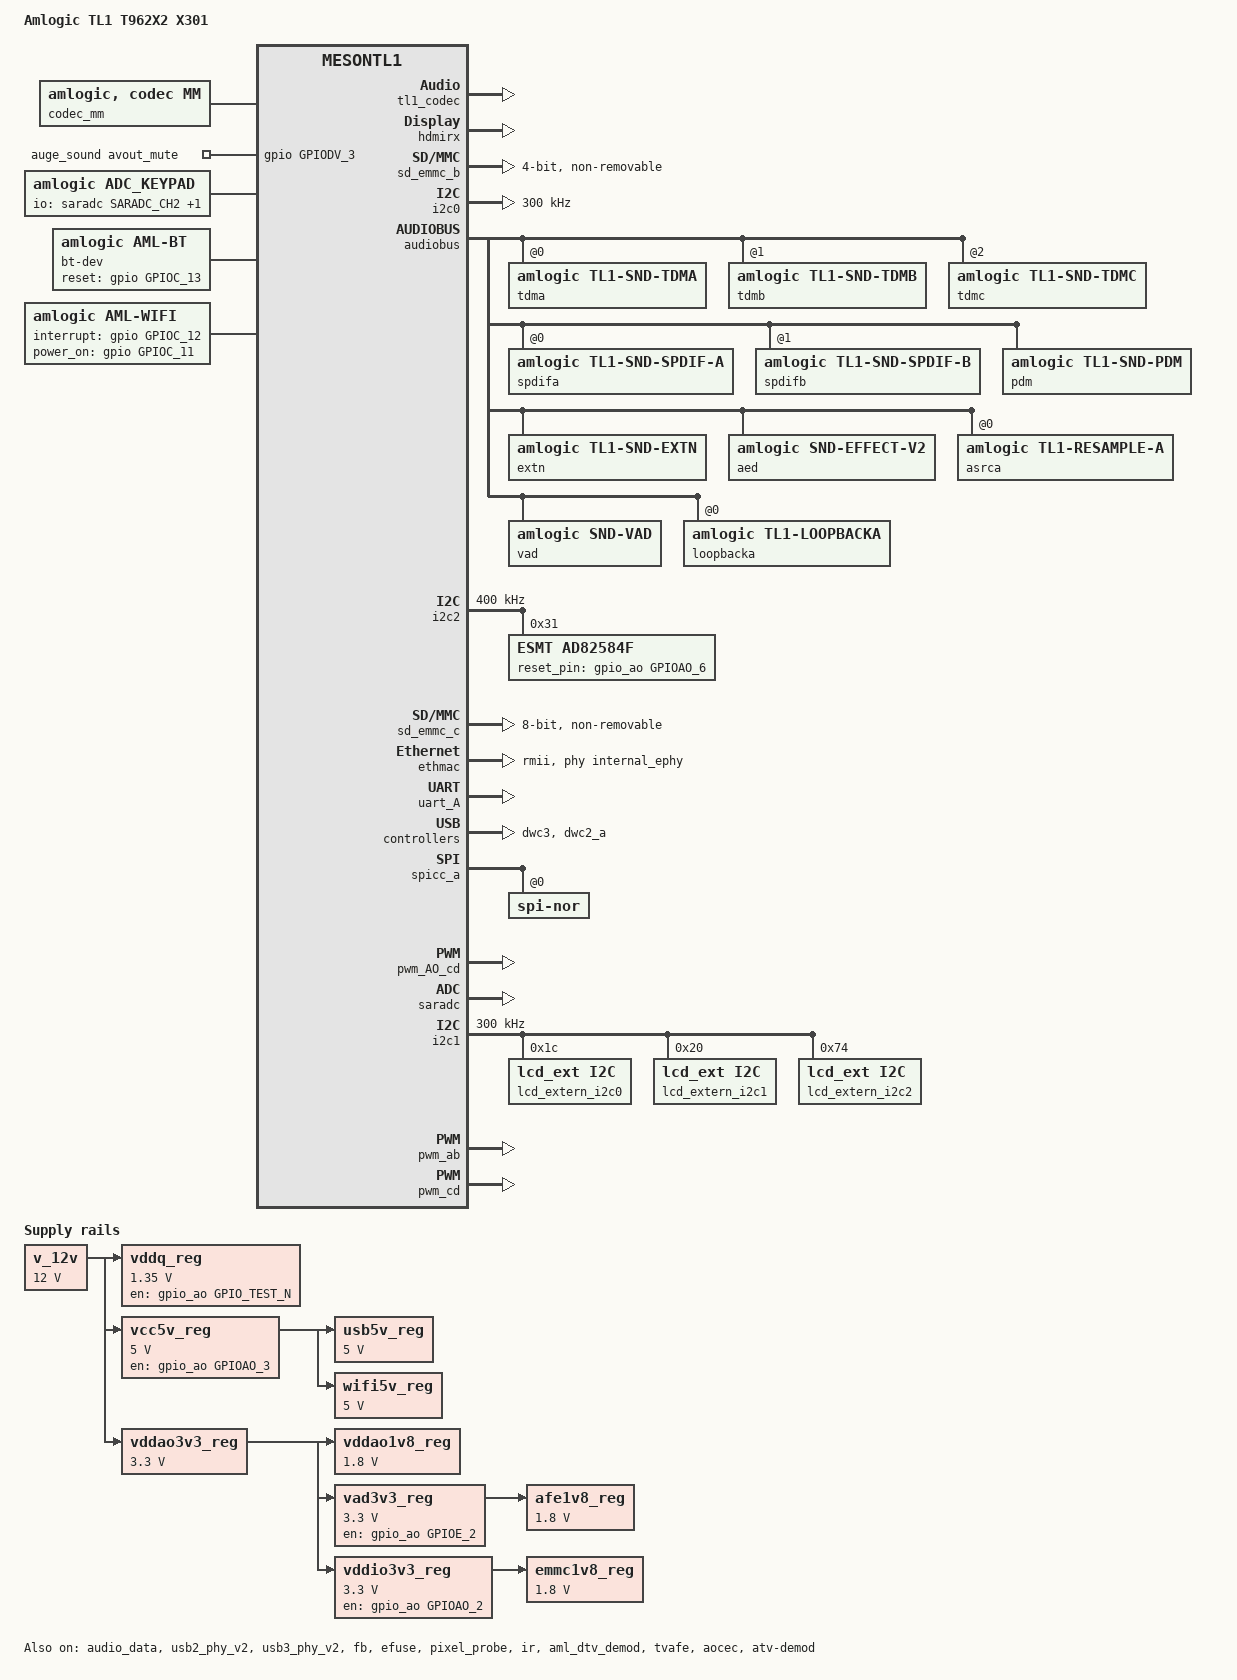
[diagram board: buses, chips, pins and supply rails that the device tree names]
// SPDX-License-Identifier: (GPL-2.0+ OR MIT)
/*
 * Copyright (c) 2021 Amlogic, Inc. All rights reserved.
 */

/dts-v1/;

#include "mesontl1.dtsi"
#include "partition_mbox_normal_P_32.dtsi"
#include "mesontl1_x301-panel.dtsi"

/ {
	model = "Amlogic TL1 T962X2 X301";
	amlogic-dt-id = "tl1_t962x2_x301-1g";
	compatible = "amlogic, tl1_t962x2_x301";

	aliases {
		serial0 = &uart_AO;
		serial1 = &uart_A;
		serial2 = &uart_B;
		serial3 = &uart_C;
		serial4 = &uart_AO_B;
		tsensor0 = &p_tsensor;
		tsensor1 = &d_tsensor;
		tsensor2 = &s_tsensor;
		i2c0 = &i2c0;
		i2c1 = &i2c1;
		i2c2 = &i2c2;
		i2c3 = &i2c3;
		i2c4 = &i2c_AO;
		spi0 = &spicc_a;
		spi1 = &spicc1;
	};

	memory@00000000 {
		device_type = "memory";
		linux,usable-memory = <0x0 0x40000000>;
	};

	reserved-memory {
		#address-cells = <1>;
		#size-cells = <1>;
		ranges;
		/* global autoconfigured region for contiguous allocations */
		ramoops@0x07400000 {
			compatible = "ramoops";
			reg = <0x07400000 0x00100000>;
			record-size = <0x20000>;
			console-size = <0x40000>;
			ftrace-size = <0x80000>;
			pmsg-size = <0x20000>;
		};

		secmon_reserved: linux,secmon {
			compatible = "shared-dma-pool";
			reusable;
			size = <0x400000>;
			alignment = <0x400000>;
			alloc-ranges = <0x05000000 0x400000>;
		};

		logo_reserved:linux,meson-fb {
			compatible = "amlogic, meson-fb";
			size = <0x800000>;
			alignment = <0x400000>;
			reg = <0x3f800000 0x800000>;
		};

		lcd_tcon_reserved:linux,lcd_tcon {
			compatible = "shared-dma-pool";
			reusable;
			size = <0x0>;
			alignment = <0x400000>;
			alloc-ranges = <0x3ec00000 0xc00000>;
		};

		codec_mm_cma:linux,codec_mm_cma {
			compatible = "shared-dma-pool";
			reusable;
			/* ion_codec_mm max can alloc size 80M*/
			size = <0xdc00000>;
			alignment = <0x400000>;
			linux,contiguous-region;
			alloc-ranges = <0x30000000 0x10000000>;
		};

		/* codec shared reserved */
		codec_mm_reserved:linux,codec_mm_reserved {
			compatible = "amlogic, codec-mm-reserved";
			size = <0x0>;
			alignment = <0x100000>;
			//no-map;
		};

		ion_cma_reserved:linux,ion-dev {
			compatible = "shared-dma-pool";
			reusable;
			size = <0x400000>;
			alignment = <0x400000>;
			alloc-ranges = <0x00000000 0x30000000>;
		};

		ion_fb_reserved:linux,ion-fb {
			compatible = "shared-dma-pool";
			reusable;
			size = <0x1c00000>;
			alignment = <0x400000>;
			alloc-ranges = <0x00000000 0x30000000>;
		};

		/*  vdin0 CMA pool */
		//vdin0_cma_reserved:linux,vdin0_cma {
		//	compatible = "shared-dma-pool";
		//	reusable;
			/* 3840x2160x4x4 ~=128 M */
		//	size = <0xc400000>;
		//	alignment = <0x400000>;
		//};

		/*  vdin1 CMA pool */
		vdin1_cma_reserved:linux,vdin1_cma {
			compatible = "shared-dma-pool";
			reusable;
			/*keystone need 4 buffers,each has 1920*1080*3
			 *for keystone, change to 0x1800000(24M)
			 */
			size = <0x1400000>;/*20M*/
			alignment = <0x400000>;
			alloc-ranges = <0x30000000 0x10000000>;
		};

		/*demod_reserved:linux,demod {
		 *	compatible = "amlogic, demod-mem";
		 *	size = <0x800000>; //8M //100m 0x6400000
		 *	alloc-ranges = <0x0 0x30000000>;
		 *	//multi-use;
		 *	//no-map;
		 *};
		 */

		demod_cma_reserved:linux,demod_cma {
			compatible = "shared-dma-pool";
			reusable;
			/* 8M */
			size = <0x0800000>;
			alignment = <0x400000>;
			alloc-ranges = <0x30000000 0x10000000>;
		};

		/*di CMA pool */
		di_cma_reserved:linux,di_cma {
			compatible = "shared-dma-pool";
			reusable;
			/* buffer_size = 3621952(yuv422 8bit)
			 *  | 4736064(yuv422 10bit)
			 *  | 4074560(yuv422 10bit full pack mode)
			 * 10x3621952=34.6M(0x23) support 8bit
			 * 10x4736064=45.2M(0x2e) support 12bit
			 * 10x4074560=40M(0x28) support 10bit
			 */
			//size = <0x02800000>;
			//alignment = <0x400000>;
			//alloc-ranges = <0x00000000 0x30000000>;
		};

		/* for hdmi rx emp use */
		/* hdmirx_emp_cma_reserved:linux,emp_cma { */
			/*compatible = "shared-dma-pool";*/
			/*linux,phandle = <5>;*/
			/*reusable;*/
			/* 4M for emp to ddr */
			/* 32M for tmds to ddr */
			/*size = <0x800>;*/
			/*alignment = <0x400000>;*/
			/* alloc-ranges = <0x400000 0x2000000>; */
		/*};*/

		/* POST PROCESS MANAGER */
		ppmgr_reserved:linux,ppmgr {
			compatible = "amlogic, ppmgr_memory";
			size = <0x0>;
		};

		picdec_cma_reserved:linux,picdec {
			compatible = "shared-dma-pool";
			reusable;
			size = <0x0>;
			alignment = <0x0>;
			linux,contiguous-region;
		};
	}; /* end of reserved-memory */

	codec_mm {
		compatible = "amlogic, codec, mm";
		status = "okay";
		memory-region = <&codec_mm_cma &codec_mm_reserved>;
	};

	picdec {
		compatible = "amlogic, picdec";
		memory-region = <&picdec_cma_reserved>;
		dev_name = "picdec";
		status = "okay";
	};

	ppmgr {
		compatible = "amlogic, ppmgr";
		memory-region = <&ppmgr_reserved>;
		status = "okay";
	};

	deinterlace {
		compatible = "amlogic, deinterlace";
		status = "disabled";
		/* 0:use reserved; 1:use cma; 2:use cma as reserved */
		flag_cma = <1>;
		//memory-region = <&di_reserved>;
		memory-region = <&di_cma_reserved>;
		interrupts = <0 46 1
				0 40 1>;
		interrupt-names = "pre_irq", "post_irq";
		//clocks = <&clkc CLKID_VPU_CLKB_TMP_COMP>,
		//	<&clkc CLKID_VPU_CLKB_COMP>;
		//clock-names = "vpu_clkb_tmp_composite",
		//	"vpu_clkb_composite";
		clock-range = <334 500>;
		//clock-range = <334 667>;
		/* buffer-size = <3621952>;(yuv422 8bit) */
		buffer-size = <4074560>;/*yuv422 fullpack*/
		/* reserve-iomap = "true"; */
		/* if enable nr10bit, set nr10bit-support to 1 */
		post-wr-support = <1>;
		nr10bit-support = <1>;
		nrds-enable = <1>;
		pps-enable = <1>;
	};

	multi-di {
		compatible = "amlogic, dim-tl1";
		status = "okay";
		/* 0:use reserved; 1:use cma; 2:use cma as reserved */
		flag_cma = <4>;
		//memory-region = <&di_reserved>;
		//memory-region = <&di_cma_reserved>;
		interrupts = <0 46 1
				0 40 1>;
		interrupt-names = "pre_irq", "post_irq";
		clocks = <&clkc CLKID_VPU_CLKB_TMP>,
			<&clkc CLKID_VPU_CLKB>;
		clock-names = "vpu_clkb",
			"vpu_mux";
		clock-range = <334 500>;
		//clock-range = <334 667>;
		/* buffer-size = <3621952>;(yuv422 8bit) */
		buffer-size = <4074560>;/*yuv422 fullpack*/
		/* reserve-iomap = "true"; */
		/* if enable nr10bit, set nr10bit-support to 1 */
		post-wr-support = <1>;
		nr10bit-support = <1>;
		nrds-enable = <1>;
		pps-enable = <1>;
	};

	/* Audio Related start */
	pdm_codec:dummy {
		#sound-dai-cells = <0>;
		compatible = "amlogic, pdm_dummy_codec";
		status = "okay";
	};

	dummy_codec:dummy {
		#sound-dai-cells = <0>;
		compatible = "amlogic, aml_dummy_codec";
		status = "okay";
	};

	tl1_codec:codec {
		#sound-dai-cells = <0>;
		compatible = "amlogic, tl1_acodec";
		status = "okay";
		reg = <0xff632000 0x1c>;
		lane_offset = <4>;
		tdmout_index = <0>;
		tdmin_index = <0>;
		dat1_ch_sel = <1>;
	};

	aml_dtv_demod {
		compatible = "amlogic, ddemod-tl1";
		dev_name = "aml_dtv_demod";
		status = "okay";

		//pinctrl-names="if_agc_pins";
		//pinctrl-0=<&dtvdemod_agc_pins>;

		//clocks = <&clkc CLKID_DAC_CLK>;
		clock-names = "vdac_clk_gate";

		reg = <0xff650000 0x4000	/*dtv demod base*/
			   0xff63c000 0x2000	/*hiu reg base*/
			   0xff800000 0x1000	/*io_aobus_base*/
			   0xffd01000 0x1000	/*reset*/
			>;

		spectrum = <1>;
		cma_mem_size = <8>;
		memory-region = <&demod_cma_reserved>;//<&demod_reserved>;
	};

	auge_sound {
		compatible = "amlogic, auge-sound-card";
		aml-audio-card,name = "AML-AUGESOUND";

		avout_mute-gpios = <&gpio GPIODV_3 GPIO_ACTIVE_HIGH>;

		aml-audio-card,dai-link@0 {
			format = "i2s";
			mclk-fs = <256>;
			continuous-clock;
			//bitclock-inversion;
			//frame-inversion;
			/* master mode */
			bitclock-master = <&tdma>;
			frame-master = <&tdma>;
			/* slave mode */
			/*
			 * bitclock-master = <&tdmacodec>;
			 * frame-master = <&tdmacodec>;
			 */
			/* suffix-name, sync with android audio hal used for */
			suffix-name = "alsaPORT-i2s";
			tdmacpu: cpu {
				sound-dai = <&tdma>;
				dai-tdm-slot-tx-mask =
							<1 1>;
				dai-tdm-slot-rx-mask =
							<1 1>;
				dai-tdm-slot-num = <2>;
				dai-tdm-slot-width = <32>;
				system-clock-frequency = <12288000>;
			};
			tdmacodec: codec {
				//sound-dai = <&dummy_codec>;
				prefix-names = "AMP";
				sound-dai = <&ad82584f &tl1_codec>;
			};
		};

		aml-audio-card,dai-link@1 {

			format = "i2s";
			mclk-fs = <256>;
			//continuous-clock;
			//bitclock-inversion;
			//frame-inversion;
			/* master mode */
			bitclock-master = <&tdmb>;
			frame-master = <&tdmb>;
			/* slave mode */
			//bitclock-master = <&tdmbcodec>;
			//frame-master = <&tdmbcodec>;
			/* suffix-name, sync with android audio hal used for */
			suffix-name = "alsaPORT-pcm";
			cpu {
				sound-dai = <&tdmb>;
				dai-tdm-slot-tx-mask = <1 1>;
				dai-tdm-slot-rx-mask = <1 1>;
				dai-tdm-slot-num = <2>;
				/*
				 * dai-tdm-slot-tx-mask =
				 *	<1 1 1 1 1 1 1 1>;
				 * dai-tdm-slot-rx-mask =
				 *	<1 1 1 1 1 1 1 1>;
				 * dai-tdm-slot-num = <8>;
				 */
				dai-tdm-slot-width = <32>;
				system-clock-frequency = <12288000>;
			};
			tdmbcodec: codec {
				sound-dai = <&dummy_codec>;
			};
		};

		aml-audio-card,dai-link@2 {
			format = "i2s";
			mclk-fs = <256>;
			//continuous-clock;
			//bitclock-inversion;
			//frame-inversion;
			/* master mode */
			bitclock-master = <&tdmc>;
			frame-master = <&tdmc>;
			/* slave mode */
			//bitclock-master = <&tdmccodec>;
			//frame-master = <&tdmccodec>;
			/* suffix-name, sync with android audio hal used for */
			//suffix-name = "alsaPORT-tdm";
			cpu {
				sound-dai = <&tdmc>;
				dai-tdm-slot-tx-mask = <1 1>;
				dai-tdm-slot-rx-mask = <1 1>;
				dai-tdm-slot-num = <2>;
				dai-tdm-slot-width = <32>;
				system-clock-frequency = <12288000>;
			};
			tdmccodec: codec {
				sound-dai = <&dummy_codec>;
			};
		};

		aml-audio-card,dai-link@3 {
			mclk-fs = <64>;
			/* suffix-name, sync with android audio hal used for */
			suffix-name = "alsaPORT-pdm";
			cpu {
				sound-dai = <&pdm>;
			};
			codec {
				sound-dai = <&pdm_codec>;
			};
		};

		aml-audio-card,dai-link@4 {
			mclk-fs = <128>;
			continuous-clock;
			/* suffix-name, sync with android audio hal used for */
			suffix-name = "alsaPORT-spdif";
			cpu {
				sound-dai = <&spdifa>;
				system-clock-frequency = <6144000>;
			};
			codec {
				sound-dai = <&dummy_codec>;
			};
		};

		aml-audio-card,dai-link@5 {
			mclk-fs = <128>;
			cpu {
				sound-dai = <&spdifb>;
				system-clock-frequency = <6144000>;
			};
			codec {
				sound-dai = <&dummy_codec>;
			};
		};

		aml-audio-card,dai-link@6 {
			mclk-fs = <256>;
			suffix-name = "alsaPORT-tv";
			cpu {
				sound-dai = <&extn>;
				system-clock-frequency = <12288000>;
			};
			codec {
				sound-dai = <&dummy_codec>;
			};
		};

		aml-audio-card,dai-link@7 {
			mclk-fs = <256>;
			continuous-clock;
			suffix-name = "alsaPORT-loopback";
			cpu {
				sound-dai = <&loopbacka>;
				system-clock-frequency = <12288000>;
			};
			codec {
				sound-dai = <&dummy_codec>;
			};
		};
	};
	/* Audio Related end */

	dvb-extern {
		compatible = "amlogic, dvb-extern";
		dev_name = "dvb-extern";
		status = "okay";

		fe_num = <1>;
		fe0_demod = "internal";

		tuner_cur = <0>; /* default use tuner */
		tuner_num = <1>; /* tuner number, multi tuner support */
		tuner0_name = "mxl661_tuner";
		tuner0_i2c_adap = <&i2c0>;
		tuner0_i2c_addr = <0x60>;
		tuner0_xtal = <1>; /* 0: 16MHz, 1: 24MHz */
		tuner0_xtal_mode = <3>;
					/* NO_SHARE_XTAL(0)
					 * SLAVE_XTAL_SHARE(3)
					 */
		tuner0_xtal_cap = <25>; /* when tuner_xtal_mode = 3, set 25 */
	};

	dvb-demux {
		compatible = "amlogic, dvb-demux";
		dev_name = "dvb-demux";
		status = "okay";

		dmx = <&demux>;

		/*"parallel","serial","disable"*/
		ts2 = "parallel";
		ts2_control = <0>;
		ts2_invert = <0>;

		clocks = <&clkc CLKID_CLK81_DEMUX
			&clkc CLKID_CLK81_ASYNC_FIFO
			&clkc CLKID_CLK81_AHB_ARB0
		&clkc CLKID_CLK81_U_PARSER>;
		clock-names = "demux", "asyncfifo", "ahbarb0", "uparsertop";

	};

	tvafe_avin_detect {
		compatible = "amlogic, tl1_tvafe_avin_detect";
		status = "okay";
		device_mask = <1>;/*bit0:ch1;bit1:ch2*/
		interrupts = <0 12 1>,
				<0 13 1>;
	};

	amlvecm {
		compatible = "amlogic, vecm-tl1";
		dev_name = "aml_vecm";
		status = "okay";
		gamma_en = <1>;/*1:enable ;0:disable*/
		wb_en = <1>;/*1:enable ;0:disable*/
		cm_en = <1>;/*1:enable ;0:disable*/
		wb_sel = <0>;/*1:mtx ;0:gainoff*/
		vlock_en = <1>;/*1:enable;0:disable*/
		vlock_mode = <0x8>;
		/* vlock work mode:
		 *bit0:auto ENC
		 *bit1:auto PLL
		 *bit2:manual PLL
		 *bit3:manual ENC
		 *bit4:manual soft ENC
		 *bit5:manual MIX PLL ENC
		 */
		 vlock_pll_m_limit = <1>;
		 vlock_line_limit = <2>;
	};

	vdin@0 {
		compatible = "amlogic, vdin-tl1";
		/*memory-region = <&vdin0_cma_reserved>;*/
		status = "okay";
		/*bit0:(1:share with codec_mm;0:cma alone)
		 *bit8:(1:alloc in discontinue way;0:alone in continuous way)
		 */
		flag_cma = <0x101>;
		/*MByte, if 10bit disable: 64M(YUV422),
		 *if 10bit enable: 64*1.5 = 96M(YUV422)
		 *if support 4K2K-YUV444-10bit-WR:3840*2160*4*6 ~= 200M
		 *if support 4K2K-YUV422-10bit-wr:3840*2160*3*6 ~= 160M
		 *if support 4K2K-YUV422-8BIT-WR:3840*2160*2*4 ~= 64M
		 *if support 1080p-YUV422-8BIT-WR:1920*1080*2*4 ~= 16M
		 *worst case:(4096*2160*4 + 2M(afbce issue)) *6buf = 214.5M
		 */
		cma_size = <215>;
		frame_buff_num = <8>;
		interrupts = <0 83 1>;
		rdma-irq = <2>;
		clocks = <&clkc CLKID_FCLK_DIV5>,
			<&clkc CLKID_VDIN_MEAS>;
		clock-names = "fclk_div5", "cts_vdin_meas_clk";
		vdin_id = <0>;
		/*vdin write mem color depth support:
		 * bit0:support 8bit
		 * bit1:support 9bit
		 * bit2:support 10bit
		 * bit3:support 12bit
		 * bit4:support yuv422 10bit full pack mode (from txl new add)
		 * bit8:use 8bit  at 4k_50/60hz_10bit
		 * bit9:use 10bit at 4k_50/60hz_10bit
		 */
		tv_bit_mode = <0x215>;
		/* afbce_bit_mode: (amlogic frame buff compression encoder)
		 * bit0 -- enable afbce
		 * bit1 -- enable afbce compression-lossy
		 * bit4 -- afbce for 4k
		 * bit5 -- afbce for 1080p
		 * bit6 -- afbce for 720p
		 * bit7 -- afbce for smaller resolution
		 */
		afbce_bit_mode = <0x31>;
	};

	vdin@1 {
		compatible = "amlogic, vdin-tl1";
		memory-region = <&vdin1_cma_reserved>;
		status = "okay";
		/*bit0:(1:share with codec_mm;0:cma alone)
		 *bit8:(1:alloc in discontinue way;0:alone in continuous way)
		 */
		flag_cma = <0>;
		interrupts = <0 85 1>;
		rdma-irq = <4>;
//		clocks = <&clkc CLKID_FCLK_DIV5>,
//			<&clkc CLKID_VDIN_MEAS_COMP>;
//		clock-names = "fclk_div5", "cts_vdin_meas_clk";
		vdin_id = <1>;
		/*vdin write mem color depth support:
		 *bit0:support 8bit
		 *bit1:support 9bit
		 *bit2:support 10bit
		 *bit3:support 12bit
		 */
		tv_bit_mode = <0x15>;
	};

	tvafe {
		compatible = "amlogic, tvafe-tl1";
		/*memory-region = <&tvafe_cma_reserved>;*/
		status = "okay";
		flag_cma = <1>;/*1:share with codec_mm;0:cma alone*/
		cma_size = <5>;/*MByte*/
		reg = <0xff654000 0x2000>;/*tvafe reg base*/
		reserve-iomap = "true";
		tvafe_id = <0>;
		//pinctrl-names = "default";
		/*!!particular sequence, no more and no less!!!*/
		tvafe_pin_mux = <
				3 /* TVAFE_CVBS_IN2, CVBS_IN0 = 0 */
				1 /* TVAFE_CVBS_IN0, CVBS_IN1 */
				2 /* TVAFE_CVBS_IN1, CVBS_IN2 */
				4 /* TVAFE_CVBS_IN3, CVBS_IN3 */
		>;
		clocks = <&clkc CLKID_CLK81_DAC_CLK>;
		clock-names = "vdac_clk_gate";

		cutwindow_val_h = <0 0 0 0 8>; /* level 0~4 */
		cutwindow_val_v = <4 8 14 16 24>;  /* level 0~4 */
		/* auto_adj_en:
		 * bit0 -- auto cdto
		 * bit1 -- auto hs
		 * bit2 -- auto vs
		 * bit3 -- auto de
		 * bit4 -- auto 3dcomb
		 * bit5 -- auto pga
		 */
		auto_adj_en = <0x3e>;
		/* val: default=0, 0x1, 0xf1, 0xe1, 0x11 for special tuner
		 * force_flag: force setting to std mode, default=0
		 */
		nostd_vs_th = <0 0>; /* val, force_flag */
		/* no_vs_th: default=0xf0
		 * vs_cntl: default=0x1, support 0x0~0x3
		 * vloop_tc: default=0x2, support 0x0~0x3
		 * dmd_clp_step: default=0x10
		 * nostd_bypass_iir: default=0x0
		 */
		nostd_ctrl = <0xf0 0x1 0x2 0x10 0x0>;
	};

	vbi {
		compatible = "amlogic, vbi";
		status = "okay";
		interrupts = <0 83 1>;
	};

	cvbsout {
		compatible = "amlogic, cvbsout-tl1";
		status = "okay";
//		clocks = <&clkc CLKID_VCLK2_ENCI
//			&clkc CLKID_VCLK2_VENCI0
//			&clkc CLKID_VCLK2_VENCI1
//			&clkc CLKID_DAC_CLK>;
//		clock-names = "venci_top_gate",
//			"venci_0_gate",
//			"venci_1_gate",
//			"vdac_clk_gate";
		/* clk path */
		/* 0:vid_pll vid2_clk */
		/* 1:gp0_pll vid2_clk */
		/* 2:vid_pll vid1_clk */
		/* 3:gp0_pll vid1_clk */
		clk_path = <0>;

		/* performance: reg_address, reg_value */
		/* tl1 */
		performance = <0x1bf0  0x9
			0x1b56  0x333
			0x1b12  0x8080
			0x1b05  0xfd
			0x1c59  0xf850
			0xffff  0x0>; /* ending flag */
		performance_sarft = <0x1bf0  0x9
			0x1b56  0x333
			0x1b12  0x0
			0x1b05  0x9
			0x1c59  0xfc48
			0xffff  0x0>; /* ending flag */
		performance_revB_telecom = <0x1bf0  0x9
			0x1b56  0x546
			0x1b12  0x8080
			0x1b05  0x9
			0x1c59  0xf850
			0xffff  0x0>; /* ending flag */
	};

	/* for external keypad */
	adc_keypad {
		compatible = "amlogic, adc_keypad";
		status = "okay";
		key_name = "power","up","down","enter","left","right","home";
		key_num = <7>;
		io-channels = <&saradc SARADC_CH2>,<&saradc SARADC_CH3>;
		io-channel-names = "key-chan-2", "key-chan-3";
		key_chan = <SARADC_CH2 SARADC_CH2 SARADC_CH2 SARADC_CH2
			SARADC_CH2 SARADC_CH3 SARADC_CH3>;
		key_code = <116 103 108 28 105 106 102>;
		key_val = <0 143 266 389 512 143 266>; //val=voltage/1800mV*1023
		key_tolerance = <40 40 40 40 40 40 40>;
};

	unifykey {
		compatible = "amlogic,unifykey";
		status = "okay";

		unifykey-num = <24>;
		unifykey-index-0 = <&keysn_0>;
		unifykey-index-1 = <&keysn_1>;
		unifykey-index-2 = <&keysn_2>;
		unifykey-index-3 = <&keysn_3>;
		unifykey-index-4 = <&keysn_4>;
		unifykey-index-5 = <&keysn_5>;
		unifykey-index-6 = <&keysn_6>;
		unifykey-index-7 = <&keysn_7>;
		unifykey-index-8 = <&keysn_8>;
		unifykey-index-9 = <&keysn_9>;
		unifykey-index-10= <&keysn_10>;
		unifykey-index-11 = <&keysn_11>;
		unifykey-index-12 = <&keysn_12>;
		unifykey-index-13 = <&keysn_13>;
		unifykey-index-14 = <&keysn_14>;
		unifykey-index-15 = <&keysn_15>;
		unifykey-index-16 = <&keysn_16>;
		unifykey-index-17 = <&keysn_17>;
		unifykey-index-18 = <&keysn_18>;
		unifykey-index-19 = <&keysn_19>;
		unifykey-index-20 = <&keysn_20>;
		unifykey-index-21 = <&keysn_21>;
		unifykey-index-22 = <&keysn_22>;
		unifykey-index-23 = <&keysn_23>;

		keysn_0: key_0{
			key-name = "usid";
			key-device = "normal";
			key-permit = "read","write","del";
		};
		keysn_1:key_1{
			key-name = "mac";
			key-device  = "normal";
			key-permit = "read","write","del";
		};
		keysn_2:key_2{
			key-name = "hdcp";
			key-device = "secure";
			key-type  = "sha1";
			key-permit = "read","write","del";
		};
		keysn_3:key_3{
			key-name = "secure_boot_set";
			key-device = "efuse";
			key-permit = "write";
		};
		keysn_4:key_4{
			key-name = "mac_bt";
			key-device = "normal";
			key-permit = "read","write","del";
			key-type  = "mac";
		};
		keysn_5:key_5{
			key-name = "mac_wifi";
			key-device = "normal";
			key-permit = "read","write","del";
			key-type  = "mac";
		};
		keysn_6:key_6{
			key-name = "hdcp2_tx";
			key-device = "normal";
			key-permit = "read","write","del";
		};
		keysn_7:key_7{
			key-name = "hdcp2_rx";
			key-device = "normal";
			key-permit = "read","write","del";
		};
		keysn_8:key_8{
			key-name = "widevinekeybox";
			key-device = "secure";
			key-type = "sha1";
			key-permit = "read","write","del";
		};
		keysn_9:key_9{
			key-name = "deviceid";
			key-device = "normal";
			key-permit = "read","write","del";
		};
		keysn_10:key_10{
			key-name = "hdcp22_fw_private";
			key-device = "secure";
			key-permit = "read","write","del";
		};
		keysn_11:key_11{
			key-name = "hdcp22_rx_private";
			key-device = "secure";
			key-permit = "read","write","del";
		};
		keysn_12:key_12{
			key-name = "hdcp22_rx_fw";
			key-device = "normal";
			key-permit = "read","write","del";
		};
		keysn_13:key_13{
			key-name = "hdcp14_rx";
			key-device = "normal";
			key-type  = "sha1";
			key-permit = "read","write","del";
		};
		keysn_14:key_14{
			key-name = "prpubkeybox";// PlayReady
			key-device = "secure";
			key-permit = "read","write","del";
		};
		keysn_15:key_15{
			key-name = "prprivkeybox";// PlayReady
			key-device = "secure";
			key-permit = "read","write","del";
		};
		keysn_16:key_16{
			key-name = "lcd";
			key-device = "normal";
			key-permit = "read","write","del";
		};
		keysn_17:key_17{
			key-name = "lcd_extern";
			key-device = "normal";
			key-permit = "read","write","del";
		};
		keysn_18:key_18{
			key-name = "backlight";
			key-device = "normal";
			key-permit = "read","write","del";
		};
		keysn_19:key_19{
			key-name = "lcd_tcon";
			key-device = "normal";
			key-permit = "read","write","del";
		};
		keysn_20:key_20{
			key-name = "attestationkeybox";// attestation key
			key-device = "secure";
			key-permit = "read","write","del";
		};
		keysn_21:key_21{
			key-name = "attestationdevidbox";// attest dev id box
			key-device = "secure";
			key-permit = "read","write","del";
		};
		keysn_22:key_22{
			key-name = "oemkey";
			key-device = "normal";
			key-permit = "read","write","del";
		};
		keysn_23:key_23{
			key-name = "lcd_tcon_spi";
			key-device = "normal";
			key-permit = "read","write","del";
		};
	}; /* End unifykey */

	video_queue {
		compatible = "amlogic, video_queue";
		dev_name = "videoqueue";
		status = "okay";
	};

	amlvideo2_0 {
		compatible = "amlogic, amlvideo2";
		dev_name = "amlvideo2";
		status = "okay";
		amlvideo2_id = <0>;
		cma_mode = <1>;
	};

	amlvideo2_1 {
		compatible = "amlogic, amlvideo2";
		dev_name = "amlvideo2";
		status = "okay";
		amlvideo2_id = <1>;
		cma_mode = <1>;
	};

	hdmirx {
		compatible = "amlogic, hdmirx_tl1";
		#address-cells=<1>;
		#size-cells=<1>;
		/*memory-region = <&hdmirx_emp_cma_reserved>;*/
		status = "okay";
		pinctrl-names = "hdmirx_pins";
		pinctrl-0 = <&hdmirx_a_mux &hdmirx_b_mux
			&hdmirx_c_mux>;
		repeat = <0>;
		/* bit 4: tdr enable bit
		 * [3:0]: tdr level control
		 */
		term_lvl = <0x11>;
		interrupts = <0 41 IRQ_TYPE_LEVEL_HIGH>;
				clocks = <&clkc CLKID_HDMIRX_MODET_GATE>,
			   <&clkc CLKID_HDMIRX_CFG_GATE>,
			   <&clkc CLKID_HDMIRX_ACR_GATE>,
			   <&clkc CLKID_HDMIRX_METER_GATE>,
			   <&clkc CLKID_HDMIRX_AXI_GATE>,
			   <&xtal>,
			   <&clkc CLKID_FCLK_DIV5>,
			   <&clkc CLKID_FCLK_DIV7>,
			   <&clkc CLKID_HDMIRX_SKP_GATE>,
			   <&clkc CLKID_HDMIRX_ESM_GATE>;
		//	   <&clkc CLK_AUD_PLL2FS>,
		//	   <&clkc CLK_AUD_PLL4FS>,
		//	   <&clkc CLK_AUD_OUT>;
		clock-names = "hdmirx_modet_clk",
			"hdmirx_cfg_clk",
				"hdmirx_acr_ref_clk",
				"cts_hdmirx_meter_clk",
				"cts_hdmi_axi_clk",
				"xtal",
				"fclk_div5",
				"fclk_div7",
				"hdcp_rx22_skp",
				"hdcp_rx22_esm";
		//		"hdmirx_aud_pll2fs",
		//		"hdmirx_aud_pll4f",
		//		"clk_aud_out";
		hdmirx_id = <0>;
		en_4k_2_2k = <0>;
		hpd_low_cec_off = <1>;
		arc_port = <1>;
		/* bit4: enable feature, bit3~0: port number */
		disable_port = <0x0>;
		/* 1: enable, 0: disable */
		scdc_force_en = <0>;
		/* MAP_ADDR_MODULE_CBUS */
		/* MAP_ADDR_MODULE_HIU */
		/* MAP_ADDR_MODULE_HDMIRX_CAPB3 */
		/* MAP_ADDR_MODULE_SEC_AHB */
		/* MAP_ADDR_MODULE_SEC_AHB2 */
		/* MAP_ADDR_MODULE_APB4 */
		/* MAP_ADDR_MODULE_TOP */
		reg = < 0x0 0x0
			0xff63C000 0x2000
			0xffe0d000 0x2000
			0x0 0x0
			0x0 0x0
			0x0 0x0
			0xff610000 0xa000>;
	};

	aocec: aocec {
		compatible = "amlogic, aocec-tl1";
		/*device_name = "aocec";*/
		status = "okay";
		vendor_name = "Amlogic"; /* Max Chars: 8	 */
		/* Refer to the following URL at:
		 * http://standards.ieee.org/develop/regauth/oui/oui.txt
		 */
		vendor_id = <0x000000>;
		product_desc = "TL1"; /* Max Chars: 16	  */
		cec_osd_string = "AML_TV"; /* Max Chars: 14    */
		port_num = <3>;
		ee_cec;
		arc_port_mask = <0x2>;
		interrupts = <0 203 1
					0 199 1>;
		interrupt-names = "hdmi_aocecb","hdmi_aocec";
		pinctrl-names = "default","hdmitx_aocecb","cec_pin_sleep";
		pinctrl-0=<&aoceca_mux>;
		pinctrl-1=<&aocecb_mux>;
		pinctrl-2=<&aoceca_mux>;
		reg = <0xFF80023c 0x4
			   0xFF800000 0x400>;
		reg-names = "ao_exit","ao";
	};

	v_12v: fixed@v_12v {
		compatible = "regulator-fixed";
		regulator-name = "v_12v";
		regulator-min-microvolt = <12000000>;
		regulator-max-microvolt = <12000000>;
		regulator-always-on;
	};

	vddq_reg: fixed@vddq_reg{
		compatible = "regulator-fixed";
		vin-supply = <&v_12v>;
		regulator-name = "VDDQ1.5V";
		regulator-min-microvolt = <1350000>;
		regulator-max-microvolt = <1350000>;
		gpio = <&gpio_ao GPIO_TEST_N GPIO_ACTIVE_HIGH>;
		enable-active-high;
		regulator-boot-on;
		regulator-always-on;
	};

	vcc5v_reg: fixed@v_5v_reg{
		compatible = "regulator-fixed";
		vin-supply = <&v_12v>;
		regulator-name = "VCC5V";
		regulator-min-microvolt = <5000000>;
		regulator-max-microvolt = <5000000>;
		gpio = <&gpio_ao GPIOAO_3 GPIO_ACTIVE_HIGH>;
		startup-delay-us = <70000>;
		enable-active-high;
		regulator-boot-on;
		regulator-always-on;
	};

	usb5v_reg: fixed@usb5v_reg{
		compatible = "regulator-fixed";
		vin-supply = <&vcc5v_reg>;
		regulator-name = "USB5V";
		regulator-min-microvolt = <5000000>;
		regulator-max-microvolt = <5000000>;
		regulator-boot-on;
		//regulator-always-on;
	};

	wifi5v_reg: fixed@wifi5v_reg{
		compatible = "regulator-fixed";
		vin-supply = <&vcc5v_reg>;
		regulator-name = "WIFI_5V";
		regulator-min-microvolt = <5000000>;
		regulator-max-microvolt = <5000000>;
		regulator-boot-on;
		//regulator-always-on;
	};

	vddao3v3_reg: fixed@vddao3v3_reg{
		vin-supply = <&v_12v>;
		compatible = "regulator-fixed";
		regulator-name = "VDDAO_3.3V";
		regulator-min-microvolt = <3300000>;
		regulator-max-microvolt = <3300000>;
		regulator-boot-on;
		regulator-always-on;
	};

	vddao1v8_reg: fixed@vddao1v8_reg{
		compatible = "regulator-fixed";
		vin-supply = <&vddao3v3_reg>;
		regulator-name = "VDDAO_1.8V";
		regulator-min-microvolt = <1800000>;
		regulator-max-microvolt = <1800000>;
		regulator-boot-on;
		//regulator-always-on;
	};

	vad3v3_reg: fixed@vad3v3_reg{
		compatible = "regulator-fixed";
		vin-supply = <&vddao3v3_reg>;
		regulator-name = "VAD_3.3V";
		regulator-min-microvolt = <3300000>;
		regulator-max-microvolt = <3300000>;
		// GPIOE_2 JUST for vddcpu at X301
		gpio = <&gpio_ao GPIOE_2 GPIO_ACTIVE_HIGH>;
		startup-delay-us = <70000>;
		enable-active-high;
		regulator-boot-on;
		regulator-always-on;
	};

	afe1v8_reg: fixed@afe1v8_reg{
		compatible = "regulator-fixed";
		vin-supply = <&vad3v3_reg>;
		regulator-name = "AFE_1.8V";
		regulator-min-microvolt = <1800000>;
		regulator-max-microvolt = <1800000>;
		regulator-boot-on;
		//regulator-always-on;
	};

	vddio3v3_reg: fixed@vddio3v3_reg{
		compatible = "regulator-fixed";
		vin-supply = <&vddao3v3_reg>;
		regulator-name = "VDDIO_3.3V";
		regulator-min-microvolt = <3300000>;
		regulator-max-microvolt = <3300000>;
		gpio = <&gpio_ao GPIOAO_2 GPIO_ACTIVE_HIGH>;
		startup-delay-us = <70000>;
		enable-active-high;
		regulator-boot-on;
		regulator-always-on;
	};

	emmc1v8_reg: fixed@emmc1v8_reg{
		compatible = "regulator-fixed";
		vin-supply = <&vddio3v3_reg>;
		regulator-name = "EMMC_1.8V";
		regulator-min-microvolt = <1800000>;
		regulator-max-microvolt = <1800000>;
		regulator-boot-on;
		//regulator-always-on;
	};

	atv-demod {
		compatible = "amlogic, atv-demod";
		status = "okay";
		btsc_sap_mode = <1>;
		/* pinctrl-names="atvdemod_agc_pins"; */
		/* pinctrl-0=<&atvdemod_agc_pins>; */
		reg = <0xff656000 0x2000 /* demod reg */
				0xff63c000 0x2000 /* hiu reg */
				0xff634000 0x2000 /* periphs reg */
				0xff64a000 0x2000>; /* audio reg */
		reg_23cf = <0x88188832>;
		/*default:0x88188832;r840 on haier:0x48188832*/
	};

	bt-dev{
		compatible = "amlogic, aml-bt";
		status = "okay";
		reset-gpios = <&gpio       GPIOC_13       GPIO_ACTIVE_HIGH>;
	};

	wifi{
		compatible = "amlogic, aml-wifi";
		status = "okay";
		interrupt-gpios = <&gpio       GPIOC_12       GPIO_ACTIVE_HIGH>;
		irq_trigger_type = "GPIO_IRQ_LOW";
		dhd_static_buf;    //dhd_static_buf support
		power_on-gpios = <&gpio       GPIOC_11       GPIO_ACTIVE_HIGH>;
		pinctrl-names = "default";
		pinctrl-0 = <&pwm_b_pins1>;
		pwm_config = <&wifi_pwm_conf>;
	};

	wifi_pwm_conf:wifi_pwm_conf{
		pwm_channel1_conf {
			pwms = <&pwm_ab MESON_PWM_1 30541 0>;
			duty-cycle = <15270>;
			times = <8>;
		};
		pwm_channel2_conf {
			pwms = <&pwm_ab MESON_PWM_3 30500 0>;
			duty-cycle = <15250>;
			times = <12>;
		};
	};

	sd_emmc_b: sdio@ffe05000 {
				status = "okay";
				compatible = "amlogic,meson-axg-mmc";
				reg = <0xffe05000 0x800>,
				<0xffe05000 0x4>,
				<0xffe05000 0x4>;
				clocks = <&clkc CLKID_CLK81_SD_EMMC_B>,
					<&clkc CLKID_SD_EMMC_B_SEL>,
					<&clkc CLKID_SD_EMMC_B>,
					<&xtal>,
					<&clkc CLKID_FCLK_DIV2>;
				clock-names = "core","mux0","mux1",
						"clkin0","clkin1";

				no-mmc;
				pinctrl-names = "default",
						 "clk-gate";
				pinctrl-0 = <&sdio_all_pins>;
				pinctrl-1 = <&sdio_clk_gate_pins>;
				interrupts = <GIC_SPI 190 IRQ_TYPE_LEVEL_HIGH>;
				bus-width = <4>;
				cap-sd-highspeed;
				sd-uhs-sdr12;
				sd-uhs-sdr25;
				sd-uhs-sdr50;
				sd-uhs-sdr104;
				max-frequency = <200000000>;
				non-removable;
				keep-power-in-suspend;
				cap-sdio-irq;
				card_type = <3>;

				disable-wp;
	};

	aml_pm {
		vad_wakeup_disable = <0x0>;
		vddio3v3_en = <&gpio_ao GPIOAO_2 0>;
	};

/*	sd_emmc_b: sd@ffe05000 {
 *		status = "okay";
 *		compatible = "amlogic, meson-mmc-tl1";
 *		reg = <0xffe05000 0x800>;
 *		interrupts = <0 190 1>;
 *
 *		pinctrl-names = "sd_all_pins",
 *			"sd_clk_cmd_pins",
 *			"sd_1bit_pins";
 *		pinctrl-0 = <&sd_all_pins>;
 *		pinctrl-1 = <&sd_clk_cmd_pins>;
 *		pinctrl-2 = <&sd_1bit_pins>;
 *
 *		clocks = <&clkc CLKID_SD_EMMC_B>,
 *			<&clkc CLKID_SD_EMMC_B_P0_COMP>,
 *			<&clkc CLKID_FCLK_DIV2>,
 *			<&clkc CLKID_FCLK_DIV5>,
 *			<&xtal>;
 *		clock-names = "core", "clkin0", "clkin1", "clkin2", "xtal";
 *
 *		bus-width = <4>;
 *		cap-sd-highspeed;
 *		cap-mmc-highspeed;
 *		max-frequency = <100000000>;
 *		disable-wp;
 *		sd {
 *			pinname = "sd";
 *			ocr_avail = <0x200080>;
 *			caps = "MMC_CAP_4_BIT_DATA",
 *				"MMC_CAP_MMC_HIGHSPEED",
 *				"MMC_CAP_SD_HIGHSPEED";
 *			f_min = <400000>;
 *			f_max = <200000000>;
 *			max_req_size = <0x20000>;
 *			no_sduart = <1>;
 *			gpio_dat3 = <&gpio GPIOC_3 GPIO_ACTIVE_HIGH>;
 *			jtag_pin = <&gpio GPIOC_1 GPIO_ACTIVE_HIGH>;
 *			gpio_cd = <&gpio GPIOC_10 GPIO_ACTIVE_HIGH>;
 *			card_type = <5>;
 *		};
 *	};
 */

}; /* end of / */

&i2c0 {
	status = "okay";
	clock-frequency = <300000>;
	pinctrl-names = "default", "sleep";
	pinctrl-0 = <&i2c0_dv_pins>;
	pinctrl-1 = <&i2c0_dv_pins_slp_input>;
};

&audiobus {
	tdma:tdm@0 {
		compatible = "amlogic, tl1-snd-tdma";
		#sound-dai-cells = <0>;

		dai-tdm-lane-slot-mask-in = <1 0>;
		dai-tdm-lane-slot-mask-out = <1 1 1 1>;
		dai-tdm-clk-sel = <0>;

		clocks = <&clkaudio CLKID_AUDIO_MCLK_A
				&clkc CLKID_MPLL0
				&clkc CLKID_MPLL1
				&clkaudio CLKID_AUDIO_SPDIFOUT_A
				&clkaudio CLKID_AUDIO_MCLK_PAD0>;
		clock-names = "mclk", "clk_srcpll",
			"samesource_srcpll", "samesource_clk", "mclk_pad";

		pinctrl-names = "tdm_pins", "tdmout_a_gpio";
		pinctrl-0 = <&tdma_mclk &tdmout_a &tdma_clk_pins>;
		pinctrl-1 = <&tdmout_a_gpio>;

		/*
		 * 0: tdmout_a;
		 * 1: tdmout_b;
		 * 2: tdmout_c;
		 * 3: spdifout;
		 * 4: spdifout_b;
		 */
		samesource_sel = <3>;

		/* In for ACODEC_ADC */
		acodec_adc = <1>;
		/*enable default mclk(12.288M), before extern codec start*/
		start_clk_enable = <1>;

		/*tdm clk tuning enable*/
		clk_tuning_enable = <1>;
		status = "okay";

		/* !!!For --TV platform-- ONLY */
		Channel_Mask {
			/*i2s has 4 pins, 8channel, mux output*/
			Spdif_samesource_Channel_Mask = "i2s_2/3";
		};
	};

	tdmb:tdm@1 {
		compatible = "amlogic, tl1-snd-tdmb";
		#sound-dai-cells = <0>;

		dai-tdm-lane-slot-mask-in = <1 0 0 0>;
		dai-tdm-lane-slot-mask-out = <1 0 0 0>;
		dai-tdm-clk-sel = <1>;

		clocks = <&clkaudio CLKID_AUDIO_MCLK_B
				&clkc CLKID_MPLL1>;
		clock-names = "mclk", "clk_srcpll";

		mclk_pad = <1>;  /* 0: mclk_0; 1: mclk_1 */

		status = "okay";
	};

	tdmc:tdm@2 {
		compatible = "amlogic, tl1-snd-tdmc";
		#sound-dai-cells = <0>;

		dai-tdm-lane-slot-mask-in = <1 0 0 0>;
		dai-tdm-lane-slot-mask-out = <1 0 0 0>;
		dai-tdm-clk-sel = <2>;

		clocks = <&clkaudio CLKID_AUDIO_MCLK_C
				&clkc CLKID_MPLL2>;
		clock-names = "mclk", "clk_srcpll";

		pinctrl-names = "tdm_pins";
		pinctrl-0 = <&tdmout_c &tdmin_c>;

		status = "okay";
	};

	tdmlb:tdm@3 {
		compatible = "amlogic, tl1-snd-tdmlb";
		#sound-dai-cells = <0>;

		dai-tdm-lane-lb-slot-mask-in = <1 0 0 0>;
		dai-tdm-clk-sel = <1>;

		clocks = <&clkaudio CLKID_AUDIO_MCLK_B
				&clkc CLKID_MPLL1>;
		clock-names = "mclk", "clk_srcpll";

		/*
		 * select tdmin_lb src;
		 * AXG
		 *  0: TDMOUTA
		 *  1: TDMOUTB
		 *  2: TDMOUTC
		 *  3: PAD_TDMINA
		 *  4: PAD_TDMINB
		 *  5: PAD_TDMINC
		 *
		 * G12A/G12B
		 *  0: TDMOUTA
		 *  1: TDMOUTB
		 *  2: TDMOUTC
		 *  3: PAD_TDMINA_DIN*
		 *  4: PAD_TDMINB_DIN*
		 *  5: PAD_TDMINC_DIN*
		 *  6: PAD_TDMINA_D*, oe pin
		 *  7: PAD_TDMINB_D*, oe pin
		 *
		 * TL1
		 *  0: TDMOUTA
		 *  1: TDMOUTB
		 *  2: TDMOUTC
		 *  3: PAD_TDMINA_DIN*
		 *  4: PAD_TDMINB_DIN*
		 *  5: PAD_TDMINC_DIN*
		 *  6: PAD_TDMINA_D*
		 *  7: PAD_TDMINB_D*
		 *  8: PAD_TDMINC_D*
		 *  9: HDMIRX_I2S
		 *  10: ACODEC_ADC
		 */
		lb-src-sel = <1>;

		status = "disabled";
	};

	spdifa:spdif@0 {
		compatible = "amlogic, tl1-snd-spdif-a";
		#sound-dai-cells = <0>;

		clocks = <&clkc CLKID_MPLL1
				&clkc CLKID_FCLK_DIV4
				&clkaudio CLKID_AUDIO_GATE_SPDIFIN
				&clkaudio CLKID_AUDIO_GATE_SPDIFOUT_A
				&clkaudio CLKID_AUDIO_SPDIFIN
				&clkaudio CLKID_AUDIO_SPDIFOUT_A>;
		clock-names = "sysclk", "fixed_clk", "gate_spdifin",
				"gate_spdifout", "clk_spdifin", "clk_spdifout";

		interrupts =
				<GIC_SPI 151 IRQ_TYPE_EDGE_RISING>;
		interrupt-names = "irq_spdifin";

		pinctrl-names = "spdif_pins",
				"spdif_pins_mute";
		pinctrl-0 = <&spdifout_a>;
		pinctrl-1 = <&spdifout_a_mute>;

		/*
		 * whether do asrc for pcm and resample a or b
		 * if raw data, asrc is disabled automatically
		 * 0: "Disable",
		 * 1: "Enable:32K",
		 * 2: "Enable:44K",
		 * 3: "Enable:48K",
		 * 4: "Enable:88K",
		 * 5: "Enable:96K",
		 * 6: "Enable:176K",
		 * 7: "Enable:192K",
		 */
		asrc_id = <0>;
		auto_asrc = <0>;

		/*spdif clk tuning enable*/
		clk_tuning_enable = <1>;
		status = "okay";
	};

	spdifb:spdif@1 {
		compatible = "amlogic, tl1-snd-spdif-b";
		#sound-dai-cells = <0>;

		clocks = <&clkc CLKID_MPLL0 /*CLKID_HIFI_PLL*/
				&clkaudio CLKID_AUDIO_GATE_SPDIFOUT_B
				&clkaudio CLKID_AUDIO_SPDIFOUT_B>;
		clock-names = "sysclk",
				"gate_spdifout", "clk_spdifout";

		status = "okay";
	};

	pdm:pdm {
		compatible = "amlogic, tl1-snd-pdm";
		#sound-dai-cells = <0>;

		clocks = <&clkaudio CLKID_AUDIO_GATE_PDM
			&clkc CLKID_FCLK_DIV3
			&clkc CLKID_HIFI_PLL
			&clkaudio CLKID_AUDIO_PDMIN0
			&clkaudio CLKID_AUDIO_PDMIN1>;
		clock-names = "gate",
			"sysclk_srcpll",
			"dclk_srcpll",
			"pdm_dclk",
			"pdm_sysclk";
		train_sample_count = <0x12>;
		src-clk-freq = <491520000>;
		pinctrl-names = "pdm_pins";
		pinctrl-0 = <&pdmin>;
		/* mode 0~4, defalut:1 */
		filter_mode = <1>;

		status = "okay";
	};

	extn:extn {
		compatible = "amlogic, tl1-snd-extn";
		#sound-dai-cells = <0>;

		interrupts =
				<GIC_SPI 158 IRQ_TYPE_EDGE_RISING>;
		interrupt-names = "irq_frhdmirx";

		status = "okay";
	};

	aed:effect {
		compatible = "amlogic, snd-effect-v2";
		#sound-dai-cells = <0>;

		clocks = <&clkaudio CLKID_AUDIO_GATE_EQDRC
			&clkc CLKID_FCLK_DIV5
			&clkaudio CLKID_AUDIO_EQDRC>;
		clock-names = "gate", "srcpll", "eqdrc";

		/*
		 * 0:tdmout_a
		 * 1:tdmout_b
		 * 2:tdmout_c
		 * 3:spdifout
		 * 4:spdifout_b
		 */
		eqdrc_module = <0>;
		/* max 0xf, each bit for one lane, usually one lane */
		lane_mask = <0x1>;
		/* max 0xff, each bit for one channel */
		channel_mask = <0xff>;

		status = "okay";
	};

	asrca: resample@0 {
		compatible = "amlogic, tl1-resample-a";
		clocks = <&clkc CLKID_MPLL0
				&clkaudio CLKID_AUDIO_MCLK_A
				&clkaudio CLKID_AUDIO_RESAMPLE_A>;
		clock-names = "resample_pll", "resample_src", "resample_clk";
		/*same with toddr_src
		 *	TDMIN_A, 0
		 *	TDMIN_B, 1
		 *	TDMIN_C, 2
		 *	SPDIFIN, 3
		 *	PDMIN,  4
		 *	NONE,
		 *	TDMIN_LB, 6
		 *	LOOPBACK, 7
		 *	FRHDMIRX, 8
		 */
		resample_module = <8>;

		status = "okay";
	};

	asrcb: resample@1 {
		compatible = "amlogic, tl1-resample-b";

		clocks = <&clkc CLKID_MPLL3
			&clkaudio CLKID_AUDIO_MCLK_F
			&clkaudio CLKID_AUDIO_RESAMPLE_B>;
		clock-names = "resample_pll", "resample_src", "resample_clk";

		/*same with toddr_src
		 *      TDMIN_A, 0
		 *      TDMIN_B, 1
		 *      TDMIN_C, 2
		 *      SPDIFIN, 3
		 *      PDMIN,  4
		 *      NONE,
		 *      TDMIN_LB, 6
		 *      LOOPBACK, 7
		 */
		resample_module = <3>;

		status = "disabled";
	};

	vad:vad {
		compatible = "amlogic, snd-vad";
		#sound-dai-cells = <0>;

		clocks = <&clkaudio CLKID_AUDIO_GATE_TOVAD
			&clkc CLKID_HIFI_PLL
			&clkaudio CLKID_AUDIO_VAD>;
		clock-names = "gate", "pll", "clk";

		interrupts = <GIC_SPI 155 IRQ_TYPE_EDGE_RISING
				GIC_SPI 47 IRQ_TYPE_EDGE_RISING>;
		interrupt-names = "irq_wakeup", "irq_frame_sync";

		/*
		 * Data src sel:
		 * 0: tdmin_a;
		 * 1: tdmin_b;
		 * 2: tdmin_c;
		 * 3: spdifin;
		 * 4: pdmin;
		 * 5: loopback_b;
		 * 6: tdmin_lb;
		 * 7: loopback_a;
		 */
		src = <4>;

		/*
		 * deal with hot word in user space or kernel space
		 * 0: in user space
		 * 1: in kernel space
		 */
		level = <1>;

		status = "okay";
	};

	loopbacka:loopback@0 {
		compatible = "amlogic, tl1-loopbacka";
		#sound-dai-cells = <0>;

		clocks = <&clkaudio CLKID_AUDIO_GATE_PDM
			&clkc CLKID_HIFI_PLL
			&clkc CLKID_HIFI_PLL
			&clkaudio CLKID_AUDIO_PDMIN0
			&clkaudio CLKID_AUDIO_PDMIN1
			&clkc CLKID_MPLL0
			&clkaudio CLKID_AUDIO_MCLK_A>;
		clock-names = "pdm_gate",
			"pdm_sysclk_srcpll",
			"pdm_dclk_srcpll",
			"pdm_dclk",
			"pdm_sysclk",
			"tdminlb_mpll",
			"tdminlb_mclk";

		/* datain src
		 * 0: tdmin_a;
		 * 1: tdmin_b;
		 * 2: tdmin_c;
		 * 3: spdifin;
		 * 4: pdmin;
		 */
		datain_src = <4>;
		datain_chnum = <4>;
		datain_chmask = <0xf>;
		/* config which data pin for loopback */
		datain-lane-mask-in = <1 0 1 0>;
		src-clk-freq = <491520000>;
		/* calc mclk for datalb */
		mclk-fs = <256>;

		/* tdmin_lb src
		 * 0: tdmoutA
		 * 1: tdmoutB
		 * 2: tdmoutC
		 * 3: PAD_TDMINA_DIN*, refer to core pinmux
		 * 4: PAD_TDMINB_DIN*, refer to core pinmux
		 * 5: PAD_TDMINC_DIN*, refer to core pinmux
		 * 6: PAD_TDMINA_D*, oe, refer to core pinmux
		 * 7: PAD_TDMINB_D*, oe, refer to core pinmux
		 */
		/* if tdmin_lb >= 3, use external loopback */
		datalb_src = <0>;
		datalb_chnum = <2>;
		datalb_chmask = <0x3>;
		/* config which data pin as loopback */
		datalb-lane-mask-in = <1 0 0 0>;

		status = "okay";
	};

	loopbackb:loopback@1 {
		compatible = "amlogic, tl1-loopbackb";
		#sound-dai-cells = <0>;

		clocks = <&clkaudio CLKID_AUDIO_GATE_PDM
			&clkc CLKID_HIFI_PLL
			&clkc CLKID_HIFI_PLL
			&clkaudio CLKID_AUDIO_PDMIN0
			&clkaudio CLKID_AUDIO_PDMIN1
			&clkc CLKID_MPLL0
			&clkaudio CLKID_AUDIO_MCLK_A>;
		clock-names = "pdm_gate",
			"pdm_sysclk_srcpll",
			"pdm_dclk_srcpll",
			"pdm_dclk",
			"pdm_sysclk",
			"tdminlb_mpll",
			"tdminlb_mclk";

		/* calc mclk for datain_lb */
		mclk-fs = <256>;

		/* datain src
		 * 0: tdmin_a;
		 * 1: tdmin_b;
		 * 2: tdmin_c;
		 * 3: spdifin;
		 * 4: pdmin;
		 */
		datain_src = <4>;
		datain_chnum = <4>;
		datain_chmask = <0xf>;
		/* config which data pin for loopback */
		datain-lane-mask-in = <1 0 1 0>;

		/* tdmin_lb src
		 * 0: tdmoutA
		 * 1: tdmoutB
		 * 2: tdmoutC
		 * 3: PAD_TDMINA_DIN*, refer to core pinmux
		 * 4: PAD_TDMINB_DIN*, refer to core pinmux
		 * 5: PAD_TDMINC_DIN*, refer to core pinmux
		 * 6: PAD_TDMINA_D*, oe, refer to core pinmux
		 * 7: PAD_TDMINB_D*, oe, refer to core pinmux
		 */
		/* if tdmin_lb >= 3, use external loopback */
		datalb_src = <1>;
		datalb_chnum = <2>;
		datalb_chmask = <0x3>;
		/* config which data pin as loopback */
		datalb-lane-mask-in = <1 0 0 0>;

		status = "disabled";
	};
}; /* end of audiobus */

&pinctrl_audio {
	tdma_clk_pins: tdma_clk_pin {
		mux {
			groups = "tdm_sclk0", "tdm_lrclk0";
			function = "tdm_clk_outa";
		};
	};
};

&pinctrl_periphs {
	/* audio pin mux */

	tdma_mclk: tdma_mclk {
		mux { /* GPIOZ_0 */
			groups = "mclk0_z";
			function = "mclk0";
		};
	};

	tdmout_a: tdmout_a {
		mux { /* GPIOZ_1, GPIOZ_2, GPIOZ_3 */
			groups = "tdma_sclk_z",
				"tdma_fs_z",
				"tdma_dout0_z";
			function = "tdma_out";
			bias-pull-down;
		};
	};

	tdmout_a_gpio: tdmout_a_gpio {
		mux { /* GPIOZ_1, GPIOZ_2, GPIOZ_3 */
			groups = "GPIOZ_1",
				"GPIOZ_2",
				"GPIOZ_3";
			function = "gpio_periphs";
			output-low;
		};
	};
	tdmin_a: tdmin_a {
		mux { /* GPIOZ_9 */
			groups = "tdma_din2_z";
			function = "tdma_in";
		};
	};

	tdmout_c: tdmout_c {
		mux { /* GPIODV_7, GPIODV_8, GPIODV_9 */
			groups = "tdmc_sclk",
				"tdmc_fs",
				"tdmc_dout0";
			function = "tdmc_out";
		};
	};

	tdmin_c: tdmin_c {
		mux { /* GPIODV_10 */
			groups = "tdmc_din1";
			function = "tdmc_in";
		};
	};

	spdifin_a: spdifin_a {
		mux { /* GPIODV_5 */
			groups = "spdif_in";
			function = "spdif_in";
		};
	};

	spdifout_a: spdifout_a {
		mux { /* GPIODV_4 */
			groups = "spdif_out_dv4";
			function = "spdif_out";
		};
	};

	spdifout_a_mute: spdifout_a_mute {
		mux { /* GPIODV_4 */
			groups = "GPIODV_4";
			function = "gpio_periphs";
		};
	};

	pdmin: pdmin {
		mux { /* GPIOZ_7, GPIOZ_8, pdm_din2_z4 */
			groups = "pdm_dclk_z",
				"pdm_din0_z",
				"pdm_din2_z4";
			function = "pdm";
		};
	};

	/*backlight*/
	bl_pwm_vs_on_pins:bl_pwm_vs_on_pin {
		mux {
			groups = "pwm_vs_z5";
			function = "pwm_vs";
		};
	};
	bl_pwm_off_pins:bl_pwm_off_pin {
		mux {
			groups = "GPIOZ_5";
			function = "gpio_periphs";
			output-low;
		};
	};
	bl_pwm_combo_0_vs_on_pins:bl_pwm_combo_0_vs_on_pin {
		mux {
			groups = "pwm_vs_z5";
			function = "pwm_vs";
		};
	};
	bl_pwm_combo_1_vs_on_pins:bl_pwm_combo_1_vs_on_pin {
		mux {
			groups = "pwm_vs_z6";
			function = "pwm_vs";
		};
	};
	bl_pwm_combo_off_pins:bl_pwm_combo_off_pin {
		mux {
			groups = "GPIOZ_5",
				"GPIOZ_6";
			function = "gpio_periphs";
			output-low;
		};
	};

}; /* end of pinctrl_periphs */

&audio_data{
	status = "okay";
};

&i2c2 {
	status = "okay";
	pinctrl-names = "default", "sleep";
	pinctrl-0 = <&i2c2_z_pins>;
	pinctrl-1 = <&i2c2_z_pins_slp_input>;
	clock-frequency = <400000>;

	tas5805: tas5805@36 {
		compatible = "ti,tas5805";
		#sound-dai-cells = <0>;
		codec_name = "tas5805";
		reg = <0x2d>;
		status = "disable";
	};

	ad82584f: ad82584f@62 {
		compatible = "ESMT, ad82584f";
		#sound-dai-cells = <0>;
		reg = <0x31>;
		status = "okay";
		reset_pin = <&gpio_ao GPIOAO_6 0>;
	};

};

&sd_emmc_c {
	status = "okay";
	pinctrl-names = "default";//,"clk-gate";
	pinctrl-0 = <&emmc_conf_pull_up &emmc_conf_pull_done>;
	//pinctrl-1 = <&emmc_clk_gate_pins>;

	bus-width = <8>;
	cap-mmc-highspeed;
	mmc-ddr-1_8v;
	mmc-hs200-1_8v;
	mmc-hs400-1_8v;
	max-frequency = <198000000>;
	non-removable;
	disable-wp;
};

&spifc {
	status = "disabled";
	spi-nor@0 {
		cs_gpios = <&gpio BOOT_13 GPIO_ACTIVE_HIGH>;
	};
};

&mtd_nand {
	status = "disabled";
	#address-cells = <1>;
	#size-cells = <0>;

	bl_mode = <1>;
	fip_copies = <4>;
	fip_size = <0x200000>;
	ship_bad_block = <1>;
	disa_irq_flag = <1>;

	nand@bootloader {
		reg = <0>;
		#address-cells = <1>;
		#size-cells = <1>;
		nand-ecc-maximize;

		partition@0 {
			label = "bootloader";
			reg = <0x0 0x00000000>;
		};
	};
	nand@normal {
		reg = <0>;
		#address-cells = <1>;
		#size-cells = <1>;
		nand-ecc-maximize;

		partition@0 {
			label = "tpl";
			reg = <0x0 0x00000000>;
		};
		partition@1 {
			label = "logo";
			reg = <0x0 0x200000>;
		};
		partition@2 {
			label = "recovery";
			reg = <0x0 0x1000000>;
		};
		partition@3 {
			label = "boot";
			reg = <0x0 0x1000000>;
		};
		partition@4 {
			label = "system";
			reg = <0x0 0x4000000>;
		};
		partition@5 {
			label = "data";
			reg = <0x0 0xffffffff>;
		};
	};
};

&ethmac {
	status = "okay";
	phy-handle = <&internal_ephy>;
	phy-mode = "rmii";
};

&uart_A {
	status = "okay";
};

&dwc3 {
	status = "okay";
};

&usb2_phy_v2 {
	status = "okay";
	portnum = <3>;
};

&usb3_phy_v2 {
	status = "okay";
	portnum = <0>;
	otg = <0>;
};

&dwc2_a {
	status = "okay";
	/** 0: normal, 1: otg+dwc3 host only, 2: otg+dwc3 device only*/
	controller-type = <1>;
};

&spicc0 {
	status = "disabled";
	pinctrl-names = "default";
	pinctrl-0 = <&spicc0_pins_h>;
	cs-gpios = <&gpio GPIOH_20 0>;
};

&spicc_a {
	status = "okay";
	pinctrl-names= "default";
	pinctrl-0=<&spicc0_pins_h>;
	cs-gpios = <&gpio GPIOH_20 GPIO_ACTIVE_HIGH>;
	spi-nor@0 {
		compatible = "jedec,spi-nor";
		status = "okay";
		frequency = <40000000>;
	};
};

&fb {
	status = "okay";
	display_size_default = <1920 1080 1920 2160 32>;
	mem_size = <0x00800000 0x1980000 0x100000 0x800000>;
	logo_addr = "0x3f800000";
	mem_alloc = <0>;
	pxp_mode = <0>; /** 0:normal mode 1:pxp mode */
};

&pwm_AO_cd {
	status = "okay";
};

&saradc {
	status = "okay";
};

&i2c1 {
	status = "okay";
	clock-frequency = <300000>;
	pinctrl-names = "default", "sleep";
	pinctrl-0 = <&i2c1_h_pins>;
	pinctrl-1 = <&i2c1_h_pins_slp_input>;

	lcd_extern_i2c0: lcd_extern_i2c@0 {
		compatible = "lcd_ext, i2c";
		dev_name = "i2c_T5800Q";
		reg = <0x1c>;
		status = "okay";
	};

	lcd_extern_i2c1: lcd_extern_i2c@1 {
		compatible = "lcd_ext, i2c";
		dev_name = "i2c_ANX6862";
		reg = <0x20>;
		status = "okay";
	};

	lcd_extern_i2c2: lcd_extern_i2c@2 {
		compatible = "lcd_ext, i2c";
		dev_name = "i2c_ANX7911";
		reg = <0x74>;
		status = "okay";
	};

	lcd_extern_i2c3: lcd_extern_i2c@3 {
		compatible = "lcd_ext, i2c";
		dev_name = "i2c_CS602";
		reg = <0x66>;
		status = "disable";
	};
};

&pwm_ab {
	status = "okay";
};

&pwm_cd {
	status = "okay";
};

&efuse {
	status = "okay";
};

&pixel_probe {
	status = "okay";
};

&ir {
	status = "okay";
	pinctrl-0 = <&remote_pins>;
	pinctrl-names = "default";
};
